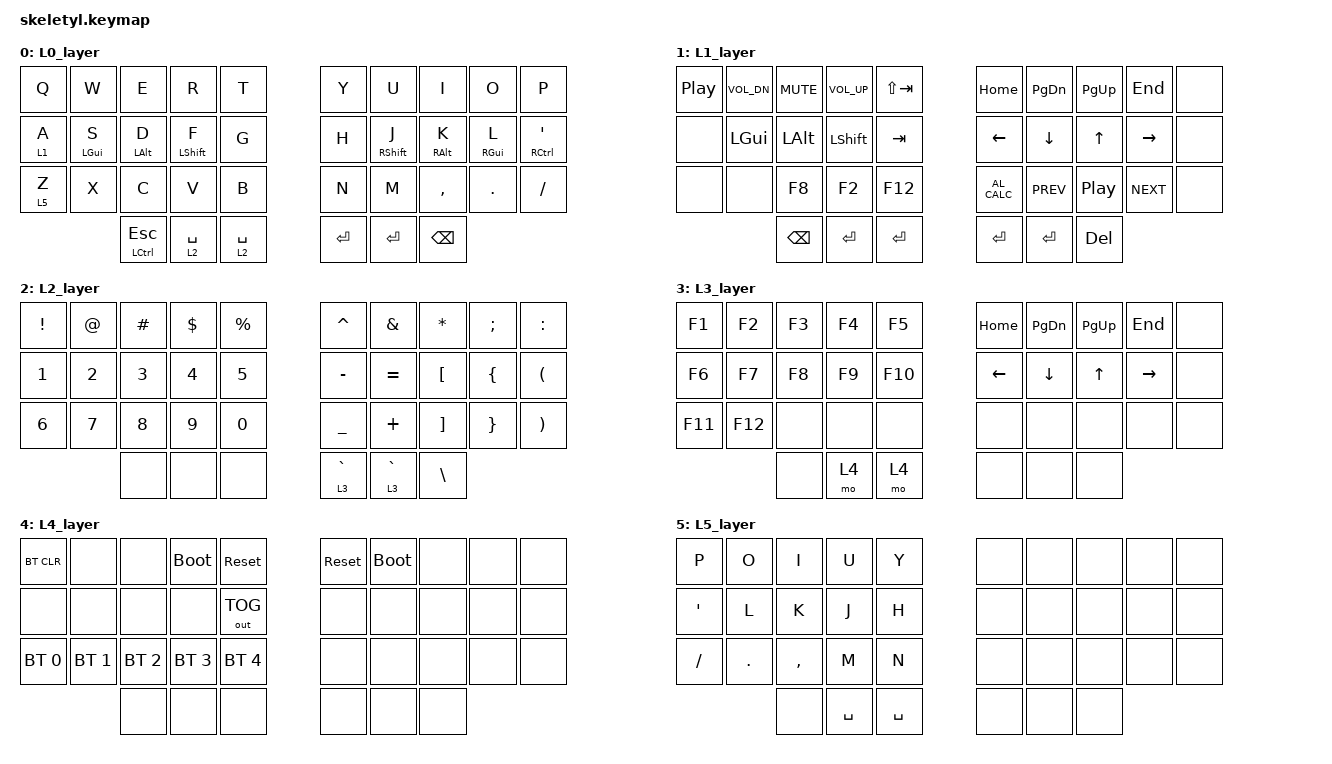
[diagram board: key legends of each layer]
#include <behaviors.dtsi>
#include <dt-bindings/zmk/keys.h>
#include <dt-bindings/zmk/bt.h>
#include <dt-bindings/zmk/outputs.h>

&mt {
  flavor = "hold-preferred";
  tapping-term-ms = <175>;
  quick-tap-ms = <175>;
  // retro-tap;
};

&lt {  // layer-tap config
  flavor = "hold-preferred";
  tapping-term-ms = <175>;
  quick-tap-ms = <175>;
  // retro-tap;
};

/ {
  behaviors {
    bmt: balanced_mod_tap {
      compatible = "zmk,behavior-hold-tap";
      #binding-cells = <2>;
      flavor = "balanced";
      tapping-term-ms = <200>;    // <---[[moderate duration]]
      quick-tap-ms = <200>;
      bindings = <&kp>, <&kp>;
    };

    blt: balanced_layer_tap {
      compatible = "zmk,behavior-hold-tap";
      #binding-cells = <2>;
      flavor = "balanced";
      tapping-term-ms = <200>;    // <---[[moderate duration]]
      quick-tap-ms = <200>;
      bindings = <&mo>, <&kp>;
    };

    tmt: tap_preferred_mod_tap {
      compatible = "zmk,behavior-hold-tap";
      #binding-cells = <2>;
      flavor = "tap-preferred";
      //retro-tap;
      tapping-term-ms = <175>;    // <---[[moderate duration]]
      quick-tap-ms = <175>;
      require-prior-idle-ms = <125>;
      bindings = <&kp>, <&kp>;
    };

    tlt: tap_preferred_layer_tap {
      compatible = "zmk,behavior-hold-tap";
      #binding-cells = <2>;
      flavor = "tap-preferred";
      //retro-tap;
      tapping-term-ms = <175>;    // <---[[moderate duration]]
      quick-tap-ms = <175>;
      require-prior-idle-ms = <125>;
      bindings = <&mo>, <&kp>;
    };
  };

  keymap {
    compatible = "zmk,keymap";

    L0_layer {
      bindings = <
        &kp Q     &kp W         &kp E         &kp R         &kp T                               &kp Y     &kp U         &kp I         &kp O          &kp P
        &tlt 1 A  &tmt LGUI S   &tmt LALT D   &tmt LSHFT F  &kp G                               &kp H     &tmt RSHFT J  &tmt RALT K   &tmt RGUI L    &tmt RCTRL SQT
        &tlt 5 Z  &kp X         &kp C         &kp V         &kp B                               &kp N     &kp M         &kp COMMA     &kp DOT        &kp FSLH
                                              &mt LCTRL ESC &lt 2 SPACE &lt 2 SPACE    &kp RET  &kp RET   &kp BSPC
      >;
    };

    L1_layer {
      bindings = <
        &kp C_PP  &kp C_VOL_DN    &kp C_MUTE    &kp C_VOL_UP  &kp LS(TAB)                         &kp HOME      &kp PG_DN   &kp PG_UP  &kp END     &none
        &none     &kp LGUI        &kp LALT      &kp LSHFT     &kp TAB                             &kp LEFT      &kp DOWN    &kp UP     &kp RIGHT   &none
        &none     &none           &kp F8        &kp F2        &kp F12                             &kp C_AL_CALC &kp C_PREV  &kp C_PP   &kp C_NEXT  &none
                                                &kp BSPC      &kp RET     &kp RET        &kp RET  &kp RET    &kp DEL
      >;
    };

    L2_layer {
      bindings = <
        &kp EXCL  &kp AT    &kp HASH    &kp DLLR    &kp PRCNT                           &kp CARET   &kp AMPS    &kp STAR    &kp SEMI  &kp COLON
        &kp N1    &kp N2    &kp N3      &kp N4      &kp N5                              &kp MINUS   &kp EQUAL   &kp LBKT    &kp LBRC  &kp LPAR
        &kp N6    &kp N7    &kp N8      &kp N9      &kp N0                              &kp UNDER   &kp PLUS    &kp RBKT    &kp RBRC  &kp RPAR
                                        &none       &none       &none         &lt 3 GRAVE &lt 3 GRAVE &kp BSLH
      >;
    };

    L3_layer {
      bindings = <
        &kp F1    &kp F2    &kp F3    &kp F4    &kp F5                      &kp HOME     &kp PG_DN     &kp PG_UP    &kp END        &none
        &kp F6    &kp F7    &kp F8    &kp F9    &kp F10                     &kp LEFT     &kp DOWN      &kp UP       &kp RIGHT      &none
        &kp F11   &kp F12   &none     &none     &none                       &none        &none         &none        &none          &none
                                      &none     &mo 4     &mo 4             &none        &none         &none
      >;
    };

    L4_layer {
      // -----------------------------------------------------------------------------------------
      // |BTCLR|     |     | BOOT|RESET|   |RESET| BOOT|     |     |     |
      // |     |     |     |     | OUT |   |     |     |     |     |     |
      // | BT1 | BT2 | BT3 | BT4 | BT5 |   |     |     |     |     |     |
      //             |     |     |     |   |     |     |     |
      bindings = <
        &bt BT_CLR    &none         &none         &bootloader   &sys_reset          &sys_reset  &bootloader  &none  &none  &none
        &none         &none         &none         &none         &out OUT_TOG        &none       &none        &none  &none  &none
        &bt BT_SEL 0  &bt BT_SEL 1  &bt BT_SEL 2  &bt BT_SEL 3  &bt BT_SEL 4        &none       &none        &none  &none  &none
                                    &none         &none         &none               &none       &none        &none
      >;
    };

    L5_layer {
      bindings = <
        &kp P     &kp O     &kp I       &kp U   &kp Y         &none   &none   &none   &none   &none
        &kp SQT   &kp L     &kp K       &kp J   &kp H         &none   &none   &none   &none   &none
        &kp FSLH  &kp DOT   &kp COMMA   &kp M   &kp N         &none   &none   &none   &none   &none
                            &none       &kp SPACE &kp SPACE   &none   &none   &none
      >;
    };
  };
};
